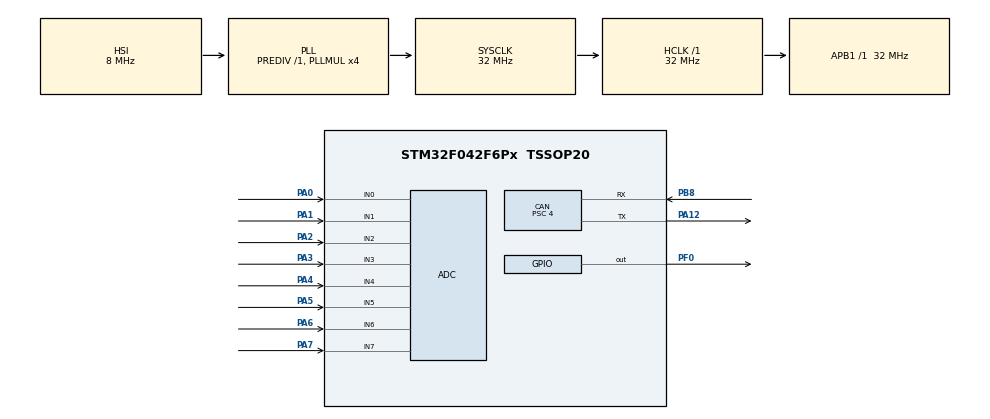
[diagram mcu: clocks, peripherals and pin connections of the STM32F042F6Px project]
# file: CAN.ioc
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Mcu.Family=STM32F0
VP_SYS_VS_PINREMAP.Mode=PINREMAP
PA6.Mode=IN6
PA7.Mode=IN7
CAN.ABOM=ENABLE
CAN.CalculateBaudRate=500000
CAN.CalculateTimeBit=2000.00
RCC.SYSCLKSource=RCC_SYSCLKSOURCE_PLLCLK
ProjectManager.StackSize=0x400
PA3.Mode=IN3
PA13.Signal=SYS_SWDIO
PA12.Signal=CAN_TX
CAN.BS2=CAN_BS2_2TQ
CAN.Prescaler=4
CAN.BS1=CAN_BS1_13TQ
PA4.Mode=IN4
ProjectManager.TargetToolchain=STM32CubeIDE
RCC.HCLKFreq_Value=32000000
CAN.Mode=CAN_MODE_SILENT_LOOPBACK
PA1.Signal=ADC_IN1
RCC.AHBFreq_Value=32000000
PA5.Signal=ADC_IN5
board=custom
RCC.PLLMUL=RCC_PLL_MUL4
PA1.Mode=IN1
PA14.Mode=Serial_Wire
CAN.NART=ENABLE
PA0.Mode=IN0
PA13.Mode=Serial_Wire
Mcu.Name=STM32F042F6Px
CAN.CalculateTimeQuantum=125.0
PA2.Signal=ADC_IN2
PA0.Signal=ADC_IN0
PA4.Signal=ADC_IN4
NVIC.CEC_CAN_IRQn=true\:0\:0\:false\:false\:true\:true\:true
RCC.SYSCLKFreq_VALUE=32000000
Mcu.Package=TSSOP20
PB1.Signal=S_TIM3_CH4
PA6.Signal=ADC_IN6
PA12.Mode=CAN_Activate
PA14.Signal=SYS_SWCLK
ProjectManager.HeapSize=0x200
PB8.Mode=CAN_Activate
CAN.TXFP=ENABLE
RCC.APB1TimFreq_Value=32000000
PB8.Signal=CAN_RX
PA2.Mode=IN2
PF0-OSC_IN.Signal=GPIO_Output
RCC.APB1Freq_Value=32000000
SH.S_TIM3_CH4.0=TIM3_CH4
PA3.Signal=ADC_IN3
PA7.Signal=ADC_IN7
PA5.Mode=IN5

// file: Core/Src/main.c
/* USER CODE BEGIN Header */
/**
  ******************************************************************************
  * @file           : main.c
  * @brief          : Main program body
  ******************************************************************************
  * @attention
  *
  * <h2><center>&copy; Copyright (c) 2021 STMicroelectronics.
  * All rights reserved.</center></h2>
  *
  * This software component is licensed by ST under BSD 3-Clause license,
  * the "License"; You may not use this file except in compliance with the
  * License. You may obtain a copy of the License at:
  *                        opensource.org/licenses/BSD-3-Clause
  *
  ******************************************************************************
  */
/* USER CODE END Header */
#include "main.h"

ADC_HandleTypeDef hadc;

CAN_HandleTypeDef hcan;

/* USER CODE BEGIN PV */
CAN_TxHeaderTypeDef TxHeader; //отправка кадров
CAN_RxHeaderTypeDef RxHeader; //читаем при приеме
uint8_t TxData[8] = {0,}; //переданные данные
uint8_t RxData[8] = {0,}; //принятые данные
uint32_t TxMailbox = 0;
/* USER CODE END PV */

void SystemClock_Config(void);
static void MX_GPIO_Init(void);
static void MX_ADC_Init(void);
static void MX_CAN_Init(void);

/* USER CODE BEGIN 0 */
void HAL_CAN_RxFifo0MsgPendingCallback(CAN_HandleTypeDef *hcan)
{
    if(HAL_CAN_GetRxMessage(hcan, CAN_RX_FIFO0, &RxHeader, RxData) == HAL_OK)
    {
        HAL_GPIO_TogglePin(GPIOC, GPIO_PIN_13);
    }
}
void HAL_CAN_ErrorCallback(CAN_HandleTypeDef *hcan)
{
    uint32_t er = HAL_CAN_GetError(hcan);
   // sprintf(trans_str,"ER CAN %lu %08lX", er, er);
   // HAL_UART_Transmit(&huart1, (uint8_t*)trans_str, strlen(trans_str), 100);
}
/* USER CODE END 0 */

int main(void)
{

  /* MCU Configuration--------------------------------------------------------*/

  /* Reset of all peripherals, Initializes the Flash interface and the Systick. */
  HAL_Init();

  /* Configure the system clock */
  SystemClock_Config();

  /* Initialize all configured peripherals */
  MX_GPIO_Init();
  MX_ADC_Init();
  MX_CAN_Init();
  /* USER CODE BEGIN 2 */
  TxHeader.StdId = 0x0378;
  TxHeader.ExtId = 0;
  TxHeader.RTR = CAN_RTR_DATA; //CAN_RTR_REMOTE
  TxHeader.IDE = CAN_ID_STD;   // CAN_ID_EXT
  TxHeader.DLC = 8;
  TxHeader.TransmitGlobalTime = 0;
  for(uint8_t i = 0; i < 8; i++)
  {
      TxData[i] = (i + 10);
  }
  HAL_CAN_Start(&hcan);
  HAL_CAN_ActivateNotification(&hcan, CAN_IT_RX_FIFO0_MSG_PENDING | CAN_IT_ERROR | CAN_IT_BUSOFF | CAN_IT_LAST_ERROR_CODE);
  /* USER CODE END 2 */

  /* Infinite loop */
  /* USER CODE BEGIN WHILE */
  while (1)
  {
	  while(HAL_CAN_GetTxMailboxesFreeLevel(&hcan) == 0);

	      /*  if(HAL_CAN_AddTxMessage(&hcan, &TxHeader, TxData, &TxMailbox) != HAL_OK)
	        {
	                HAL_UART_Transmit(&huart1, (uint8_t*)"ER SEND\n", 8, 100);
	        }*/

	        HAL_Delay(500);
    /* USER CODE END WHILE */

  }
}

void SystemClock_Config(void)
{
  RCC_OscInitTypeDef RCC_OscInitStruct = {0};
  RCC_ClkInitTypeDef RCC_ClkInitStruct = {0};

  /** Initializes the RCC Oscillators according to the specified parameters
  * in the RCC_OscInitTypeDef structure.
  */
  RCC_OscInitStruct.OscillatorType = RCC_OSCILLATORTYPE_HSI|RCC_OSCILLATORTYPE_HSI14;
  RCC_OscInitStruct.HSIState = RCC_HSI_ON;
  RCC_OscInitStruct.HSI14State = RCC_HSI14_ON;
  RCC_OscInitStruct.HSICalibrationValue = RCC_HSICALIBRATION_DEFAULT;
  RCC_OscInitStruct.HSI14CalibrationValue = 16;
  RCC_OscInitStruct.PLL.PLLState = RCC_PLL_ON;
  RCC_OscInitStruct.PLL.PLLSource = RCC_PLLSOURCE_HSI;
  RCC_OscInitStruct.PLL.PLLMUL = RCC_PLL_MUL4;
  RCC_OscInitStruct.PLL.PREDIV = RCC_PREDIV_DIV1;
  if (HAL_RCC_OscConfig(&RCC_OscInitStruct) != HAL_OK)
  {
    Error_Handler();
  }
  /** Initializes the CPU, AHB and APB buses clocks
  */
  RCC_ClkInitStruct.ClockType = RCC_CLOCKTYPE_HCLK|RCC_CLOCKTYPE_SYSCLK
                              |RCC_CLOCKTYPE_PCLK1;
  RCC_ClkInitStruct.SYSCLKSource = RCC_SYSCLKSOURCE_PLLCLK;
  RCC_ClkInitStruct.AHBCLKDivider = RCC_SYSCLK_DIV1;
  RCC_ClkInitStruct.APB1CLKDivider = RCC_HCLK_DIV1;

  if (HAL_RCC_ClockConfig(&RCC_ClkInitStruct, FLASH_LATENCY_1) != HAL_OK)
  {
    Error_Handler();
  }
}

static void MX_ADC_Init(void)
{

  ADC_ChannelConfTypeDef sConfig = {0};

  /** Configure the global features of the ADC (Clock, Resolution, Data Alignment and number of conversion)
  */
  hadc.Instance = ADC1;
  hadc.Init.ClockPrescaler = ADC_CLOCK_ASYNC_DIV1;
  hadc.Init.Resolution = ADC_RESOLUTION_12B;
  hadc.Init.DataAlign = ADC_DATAALIGN_RIGHT;
  hadc.Init.ScanConvMode = ADC_SCAN_DIRECTION_FORWARD;
  hadc.Init.EOCSelection = ADC_EOC_SINGLE_CONV;
  hadc.Init.LowPowerAutoWait = DISABLE;
  hadc.Init.LowPowerAutoPowerOff = DISABLE;
  hadc.Init.ContinuousConvMode = DISABLE;
  hadc.Init.DiscontinuousConvMode = DISABLE;
  hadc.Init.ExternalTrigConv = ADC_SOFTWARE_START;
  hadc.Init.ExternalTrigConvEdge = ADC_EXTERNALTRIGCONVEDGE_NONE;
  hadc.Init.DMAContinuousRequests = DISABLE;
  hadc.Init.Overrun = ADC_OVR_DATA_PRESERVED;
  if (HAL_ADC_Init(&hadc) != HAL_OK)
  {
    Error_Handler();
  }
  /** Configure for the selected ADC regular channel to be converted.
  */
  sConfig.Channel = ADC_CHANNEL_0;
  sConfig.Rank = ADC_RANK_CHANNEL_NUMBER;
  sConfig.SamplingTime = ADC_SAMPLETIME_1CYCLE_5;
  if (HAL_ADC_ConfigChannel(&hadc, &sConfig) != HAL_OK)
  {
    Error_Handler();
  }
  /** Configure for the selected ADC regular channel to be converted.
  */
  sConfig.Channel = ADC_CHANNEL_1;
  if (HAL_ADC_ConfigChannel(&hadc, &sConfig) != HAL_OK)
  {
    Error_Handler();
  }
  /** Configure for the selected ADC regular channel to be converted.
  */
  sConfig.Channel = ADC_CHANNEL_2;
  if (HAL_ADC_ConfigChannel(&hadc, &sConfig) != HAL_OK)
  {
    Error_Handler();
  }
  /** Configure for the selected ADC regular channel to be converted.
  */
  sConfig.Channel = ADC_CHANNEL_3;
  if (HAL_ADC_ConfigChannel(&hadc, &sConfig) != HAL_OK)
  {
    Error_Handler();
  }
  /** Configure for the selected ADC regular channel to be converted.
  */
  sConfig.Channel = ADC_CHANNEL_4;
  if (HAL_ADC_ConfigChannel(&hadc, &sConfig) != HAL_OK)
  {
    Error_Handler();
  }
  /** Configure for the selected ADC regular channel to be converted.
  */
  sConfig.Channel = ADC_CHANNEL_5;
  if (HAL_ADC_ConfigChannel(&hadc, &sConfig) != HAL_OK)
  {
    Error_Handler();
  }
  /** Configure for the selected ADC regular channel to be converted.
  */
  sConfig.Channel = ADC_CHANNEL_6;
  if (HAL_ADC_ConfigChannel(&hadc, &sConfig) != HAL_OK)
  {
    Error_Handler();
  }
  /** Configure for the selected ADC regular channel to be converted.
  */
  sConfig.Channel = ADC_CHANNEL_7;
  if (HAL_ADC_ConfigChannel(&hadc, &sConfig) != HAL_OK)
  {
    Error_Handler();
  }

}

static void MX_CAN_Init(void)
{

  /* USER CODE BEGIN CAN_Init 0 */
	CAN_FilterTypeDef  sFilterConfig;
  /* USER CODE END CAN_Init 0 */

  hcan.Instance = CAN;
  hcan.Init.Prescaler = 4;
  hcan.Init.Mode = CAN_MODE_SILENT_LOOPBACK;
  hcan.Init.SyncJumpWidth = CAN_SJW_1TQ;
  hcan.Init.TimeSeg1 = CAN_BS1_13TQ;
  hcan.Init.TimeSeg2 = CAN_BS2_2TQ;
  hcan.Init.TimeTriggeredMode = DISABLE;
  hcan.Init.AutoBusOff = ENABLE;
  hcan.Init.AutoWakeUp = DISABLE;
  hcan.Init.AutoRetransmission = ENABLE;
  hcan.Init.ReceiveFifoLocked = DISABLE;
  hcan.Init.TransmitFifoPriority = ENABLE;
  if (HAL_CAN_Init(&hcan) != HAL_OK)
  {
    Error_Handler();
  }
  /* USER CODE BEGIN CAN_Init 2 */
  sFilterConfig.FilterBank = 0;
  sFilterConfig.FilterMode = CAN_FILTERMODE_IDMASK;
  sFilterConfig.FilterScale = CAN_FILTERSCALE_32BIT;
  sFilterConfig.FilterIdHigh = 0x0000;
  sFilterConfig.FilterIdLow = 0x0000;
  sFilterConfig.FilterMaskIdHigh = 0x0000;
  sFilterConfig.FilterMaskIdLow = 0x0000;
  sFilterConfig.FilterFIFOAssignment = CAN_RX_FIFO0;
  sFilterConfig.FilterActivation = ENABLE;
  //sFilterConfig.SlaveStartFilterBank = 14;

  if(HAL_CAN_ConfigFilter(&hcan, &sFilterConfig) != HAL_OK)
  {
  Error_Handler();
  }
  /* USER CODE END CAN_Init 2 */

}

static void MX_GPIO_Init(void)
{
  GPIO_InitTypeDef GPIO_InitStruct = {0};

  /* GPIO Ports Clock Enable */
  __HAL_RCC_GPIOB_CLK_ENABLE();
  __HAL_RCC_GPIOF_CLK_ENABLE();
  __HAL_RCC_GPIOA_CLK_ENABLE();

  /*Configure GPIO pin Output Level */
  HAL_GPIO_WritePin(GPIOF, GPIO_PIN_0, GPIO_PIN_RESET);

  /*Configure GPIO pin : PF0 */
  GPIO_InitStruct.Pin = GPIO_PIN_0;
  GPIO_InitStruct.Mode = GPIO_MODE_OUTPUT_PP;
  GPIO_InitStruct.Pull = GPIO_NOPULL;
  GPIO_InitStruct.Speed = GPIO_SPEED_FREQ_LOW;
  HAL_GPIO_Init(GPIOF, &GPIO_InitStruct);

  /*Configure GPIO pin : PB1 */
  GPIO_InitStruct.Pin = GPIO_PIN_1;
  GPIO_InitStruct.Mode = GPIO_MODE_AF_PP;
  GPIO_InitStruct.Pull = GPIO_NOPULL;
  GPIO_InitStruct.Speed = GPIO_SPEED_FREQ_LOW;
  GPIO_InitStruct.Alternate = GPIO_AF1_TIM3;
  HAL_GPIO_Init(GPIOB, &GPIO_InitStruct);

}

void Error_Handler(void)
{
  __disable_irq();
  while (1)
  {
  }
}

/************************ (C) COPYRIGHT STMicroelectronics *****END OF FILE****/
